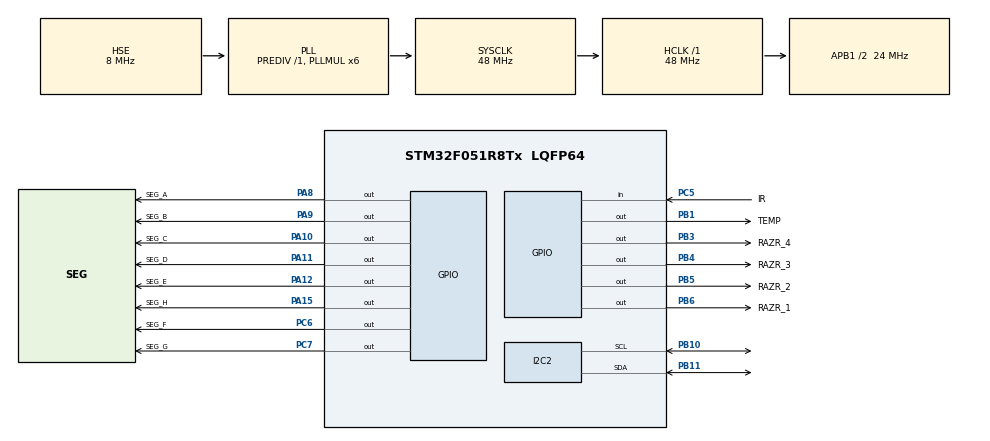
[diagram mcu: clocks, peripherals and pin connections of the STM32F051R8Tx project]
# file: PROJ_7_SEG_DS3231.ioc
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Mcu.Family=STM32F0
RCC.PLLSourceVirtual=RCC_PLLSOURCE_HSE
PB10.Mode=I2C
NVIC.TIM6_DAC_IRQn=true\:0\:0\:false\:false\:true\:true\:true
PA9.GPIO_Label=SEG_B
I2C2.Timing=0x00506682
TIM6.Prescaler=11999
PC6.Signal=GPIO_Output
VP_TIM6_VS_ClockSourceINT.Mode=Enable_Timer
PC6.GPIO_Label=SEG_F
PA11.GPIO_Label=SEG_D
PB6.GPIO_Label=RAZR_1
RCC.APB1CLKDivider=RCC_HCLK_DIV2
PB11.Signal=I2C2_SDA
PA12.GPIO_Label=SEG_E
RCC.SYSCLKSource=RCC_SYSCLKSOURCE_PLLCLK
ProjectManager.StackSize=0x400
PA13.Signal=SYS_SWDIO
PA15.GPIO_Label=SEG_H
PA12.Signal=GPIO_Output
PA8.GPIO_Label=SEG_A
PB11.Mode=I2C
ProjectManager.TargetToolchain=STM32CubeIDE
TIM15.Prescaler=47
RCC.HCLKFreq_Value=48000000
PA9.Signal=GPIO_Output
PB6.Signal=GPIO_Output
PC7.Signal=GPIO_Output
RCC.AHBFreq_Value=48000000
PF0-OSC_IN.Mode=HSE-External-Oscillator
PB10.Signal=I2C2_SCL
board=SEG7_DINAM
RCC.PLLMUL=RCC_PLL_MUL6
TIM15.Period=49
PB4.GPIO_Label=RAZR_3
VP_TIM2_VS_ClockSourceINT.Mode=Internal
PA14.Mode=Serial_Wire
PB1.GPIO_Label=TEMP
PA10.GPIO_Label=SEG_C
TIM6.TIM_MasterOutputTrigger=TIM_TRGO_RESET
PA8.Signal=GPIO_Output
TIM2.Period=0xffff-1
TIM6.Period=5
PA13.Mode=Serial_Wire
Mcu.Name=STM32F051R8Tx
PC7.GPIO_Label=SEG_G
PB3.Signal=GPIO_Output
RCC.SYSCLKFreq_VALUE=48000000
Mcu.Package=LQFP64
PB5.Signal=GPIO_Output
TIM2.Prescaler=24-1
PB1.Signal=GPIO_Output
PC5.GPIO_Label=IR
PA11.Signal=GPIO_Output
VP_TIM15_VS_ClockSourceINT.Mode=Internal
PA10.Signal=GPIO_Output
PA14.Signal=SYS_SWCLK
PA15.Signal=GPIO_Output
ProjectManager.HeapSize=0x200
PB5.GPIO_Label=RAZR_2
RCC.APB1TimFreq_Value=48000000
PC5.Signal=GPIO_Input
PF0-OSC_IN.Signal=RCC_OSC_IN
PF1-OSC_OUT.Mode=HSE-External-Oscillator
RCC.APB1Freq_Value=24000000
NVIC.TIM15_IRQn=true\:0\:0\:false\:false\:true\:true\:true
PF1-OSC_OUT.Signal=RCC_OSC_OUT
PB4.Signal=GPIO_Output
PB3.GPIO_Label=RAZR_4

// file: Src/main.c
/* USER CODE BEGIN Header */
/**
  ******************************************************************************
  * @file           : main.c
  * @brief          : Main program body
  ******************************************************************************
  * @attention
  *
  * <h2><center>&copy; Copyright (c) 2021 STMicroelectronics.
  * All rights reserved.</center></h2>
  *
  * This software component is licensed by ST under Ultimate Liberty license
  * SLA0044, the "License"; You may not use this file except in compliance with
  * the License. You may obtain a copy of the License at:
  *                             www.st.com/SLA0044
  *
  ******************************************************************************
  */
/* USER CODE END Header */
#include "main.h"

/* USER CODE BEGIN Includes */
#include "RTC.h"
#include "stdio.h"
#include "IRremote.h"
#include "DS18B20.h"
#include "Buttons.h"
/* USER CODE END Includes */

/* USER CODE BEGIN PTD */

unsigned int btn = 0xF; // Значение для перехода в режим текущее время (значение btn любое)
uint8_t ind = 0; // Переменная, сохраняющая значение номера индикатора (для времени)

/* USER CODE END PTD */

I2C_HandleTypeDef hi2c2;

TIM_HandleTypeDef htim2;
TIM_HandleTypeDef htim6;
TIM_HandleTypeDef htim15;

/* USER CODE BEGIN PV */
/* Private variables ---------------------------------------------------------*/

/* USER CODE END PV */

void SystemClock_Config(void);
static void MX_GPIO_Init(void);
static void MX_TIM6_Init(void);
static void MX_I2C2_Init(void);
static void MX_TIM2_Init(void);
static void MX_TIM15_Init(void);
/* USER CODE BEGIN PFP */
/* Private function prototypes -----------------------------------------------*/

/* USER CODE END PFP */

int main(void)
{

  /* MCU Configuration--------------------------------------------------------*/

  /* Reset of all peripherals, Initializes the Flash interface and the Systick. */
  HAL_Init();

  /* Configure the system clock */
  SystemClock_Config();

  /* Initialize all configured peripherals */
  MX_GPIO_Init();
  MX_TIM6_Init();
  MX_I2C2_Init();
  MX_TIM2_Init();
  MX_TIM15_Init();
  /* USER CODE BEGIN 2 */

  HAL_GPIO_WritePin(GPIOA, GPIO_PIN_8 | GPIO_PIN_9 | GPIO_PIN_10 | GPIO_PIN_11
  | GPIO_PIN_12 | GPIO_PIN_13 | GPIO_PIN_14 | GPIO_PIN_15, GPIO_PIN_RESET);
  HAL_GPIO_WritePin(GPIOB, GPIO_PIN_3 | GPIO_PIN_4 | GPIO_PIN_5 | GPIO_PIN_6, GPIO_PIN_RESET);

  HAL_TIM_Base_Start_IT(&htim6); // Старт таймера для динамической индикации по разрядам
  HAL_TIM_Base_Start(&htim2); // Старт таймера для работы с датчиком температуры

  my_enableIRIn();
  //SetTime(00,22,22,2,15,02,22);
  /* USER CODE END 2 */

  /* Infinite loop */
  /* USER CODE BEGIN WHILE */
  while (1)
  {
	  	  Buttons();

	  	  // Режимы отображения при нажатиях на различные кнопки
	  	  switch (btn)
	  	  {
	  	  	  case (CLK): // Если нажата кнопка, то переход в режим отображения времени
	  	  		  ind = 0; // Обнуление для повторной корректировки времени (когда нажата кнопка PWR_RC)
	  	  		  GetTime();
	  	  		  Indication_time();
	  	  		  break;
	  	  	  case (REPEAT_RC): // Если нажата кнопка, то переход в режим отображения даты
	  	  		  GetTime();
	  	  		  Indication_date();
	  	  		  break;
	  	  	  case (SLEEP): // Если нажата кнопка, то переход в режим отображения температуры
	  	  		  Indication_temp();
	  	  		  break;
	  	  	  case (RANDOM): // Если нажата кнопка, то отобразить 3 режима
	  	  		  GetTime();
	  	  		  Print_3_modes();
	  	  		  break;
	  	  	  case (0xF): // Если не нажата никакая кнопка на пульте
				  GetTime(); // Получает данные о текущем времени
			  	  Indication_time(); // Отображение времени
			  	  break;
	  	  	  default:
	  	  		  break;
	  	  }
  }
    /* USER CODE END WHILE */

}

void SystemClock_Config(void)
{
  RCC_OscInitTypeDef RCC_OscInitStruct = {0};
  RCC_ClkInitTypeDef RCC_ClkInitStruct = {0};

  /** Initializes the RCC Oscillators according to the specified parameters
  * in the RCC_OscInitTypeDef structure.
  */
  RCC_OscInitStruct.OscillatorType = RCC_OSCILLATORTYPE_HSE;
  RCC_OscInitStruct.HSEState = RCC_HSE_ON;
  RCC_OscInitStruct.PLL.PLLState = RCC_PLL_ON;
  RCC_OscInitStruct.PLL.PLLSource = RCC_PLLSOURCE_HSE;
  RCC_OscInitStruct.PLL.PLLMUL = RCC_PLL_MUL6;
  RCC_OscInitStruct.PLL.PREDIV = RCC_PREDIV_DIV1;
  if (HAL_RCC_OscConfig(&RCC_OscInitStruct) != HAL_OK)
  {
    Error_Handler();
  }
  /** Initializes the CPU, AHB and APB buses clocks
  */
  RCC_ClkInitStruct.ClockType = RCC_CLOCKTYPE_HCLK|RCC_CLOCKTYPE_SYSCLK
                              |RCC_CLOCKTYPE_PCLK1;
  RCC_ClkInitStruct.SYSCLKSource = RCC_SYSCLKSOURCE_PLLCLK;
  RCC_ClkInitStruct.AHBCLKDivider = RCC_SYSCLK_DIV1;
  RCC_ClkInitStruct.APB1CLKDivider = RCC_HCLK_DIV2;

  if (HAL_RCC_ClockConfig(&RCC_ClkInitStruct, FLASH_LATENCY_1) != HAL_OK)
  {
    Error_Handler();
  }
}

static void MX_I2C2_Init(void)
{

  hi2c2.Instance = I2C2;
  hi2c2.Init.Timing = 0x00506682;
  hi2c2.Init.OwnAddress1 = 0;
  hi2c2.Init.AddressingMode = I2C_ADDRESSINGMODE_7BIT;
  hi2c2.Init.DualAddressMode = I2C_DUALADDRESS_DISABLE;
  hi2c2.Init.OwnAddress2 = 0;
  hi2c2.Init.OwnAddress2Masks = I2C_OA2_NOMASK;
  hi2c2.Init.GeneralCallMode = I2C_GENERALCALL_DISABLE;
  hi2c2.Init.NoStretchMode = I2C_NOSTRETCH_DISABLE;
  if (HAL_I2C_Init(&hi2c2) != HAL_OK)
  {
    Error_Handler();
  }
  /** Configure Analogue filter
  */
  if (HAL_I2CEx_ConfigAnalogFilter(&hi2c2, I2C_ANALOGFILTER_ENABLE) != HAL_OK)
  {
    Error_Handler();
  }
  /** Configure Digital filter
  */
  if (HAL_I2CEx_ConfigDigitalFilter(&hi2c2, 0) != HAL_OK)
  {
    Error_Handler();
  }

}

static void MX_TIM2_Init(void)
{

  TIM_ClockConfigTypeDef sClockSourceConfig = {0};
  TIM_MasterConfigTypeDef sMasterConfig = {0};

  htim2.Instance = TIM2;
  htim2.Init.Prescaler = 24-1;
  htim2.Init.CounterMode = TIM_COUNTERMODE_UP;
  htim2.Init.Period = 0xffff-1;
  htim2.Init.ClockDivision = TIM_CLOCKDIVISION_DIV1;
  htim2.Init.AutoReloadPreload = TIM_AUTORELOAD_PRELOAD_DISABLE;
  if (HAL_TIM_Base_Init(&htim2) != HAL_OK)
  {
    Error_Handler();
  }
  sClockSourceConfig.ClockSource = TIM_CLOCKSOURCE_INTERNAL;
  if (HAL_TIM_ConfigClockSource(&htim2, &sClockSourceConfig) != HAL_OK)
  {
    Error_Handler();
  }
  sMasterConfig.MasterOutputTrigger = TIM_TRGO_RESET;
  sMasterConfig.MasterSlaveMode = TIM_MASTERSLAVEMODE_DISABLE;
  if (HAL_TIMEx_MasterConfigSynchronization(&htim2, &sMasterConfig) != HAL_OK)
  {
    Error_Handler();
  }

}

static void MX_TIM6_Init(void)
{

  TIM_MasterConfigTypeDef sMasterConfig = {0};

  htim6.Instance = TIM6;
  htim6.Init.Prescaler = 11999;
  htim6.Init.CounterMode = TIM_COUNTERMODE_UP;
  htim6.Init.Period = 5;
  htim6.Init.AutoReloadPreload = TIM_AUTORELOAD_PRELOAD_DISABLE;
  if (HAL_TIM_Base_Init(&htim6) != HAL_OK)
  {
    Error_Handler();
  }
  sMasterConfig.MasterOutputTrigger = TIM_TRGO_RESET;
  sMasterConfig.MasterSlaveMode = TIM_MASTERSLAVEMODE_DISABLE;
  if (HAL_TIMEx_MasterConfigSynchronization(&htim6, &sMasterConfig) != HAL_OK)
  {
    Error_Handler();
  }

}

static void MX_TIM15_Init(void)
{

  TIM_ClockConfigTypeDef sClockSourceConfig = {0};
  TIM_MasterConfigTypeDef sMasterConfig = {0};

  htim15.Instance = TIM15;
  htim15.Init.Prescaler = 47;
  htim15.Init.CounterMode = TIM_COUNTERMODE_UP;
  htim15.Init.Period = 49;
  htim15.Init.ClockDivision = TIM_CLOCKDIVISION_DIV1;
  htim15.Init.RepetitionCounter = 0;
  htim15.Init.AutoReloadPreload = TIM_AUTORELOAD_PRELOAD_DISABLE;
  if (HAL_TIM_Base_Init(&htim15) != HAL_OK)
  {
    Error_Handler();
  }
  sClockSourceConfig.ClockSource = TIM_CLOCKSOURCE_INTERNAL;
  if (HAL_TIM_ConfigClockSource(&htim15, &sClockSourceConfig) != HAL_OK)
  {
    Error_Handler();
  }
  sMasterConfig.MasterOutputTrigger = TIM_TRGO_RESET;
  sMasterConfig.MasterSlaveMode = TIM_MASTERSLAVEMODE_DISABLE;
  if (HAL_TIMEx_MasterConfigSynchronization(&htim15, &sMasterConfig) != HAL_OK)
  {
    Error_Handler();
  }

}

static void MX_GPIO_Init(void)
{
  GPIO_InitTypeDef GPIO_InitStruct = {0};

  /* GPIO Ports Clock Enable */
  __HAL_RCC_GPIOF_CLK_ENABLE();
  __HAL_RCC_GPIOC_CLK_ENABLE();
  __HAL_RCC_GPIOB_CLK_ENABLE();
  __HAL_RCC_GPIOA_CLK_ENABLE();

  /*Configure GPIO pin Output Level */
  HAL_GPIO_WritePin(GPIOB, TEMP_Pin|RAZR_4_Pin|RAZR_3_Pin|RAZR_2_Pin
                          |RAZR_1_Pin, GPIO_PIN_RESET);

  /*Configure GPIO pin Output Level */
  HAL_GPIO_WritePin(GPIOC, SEG_F_Pin|SEG_G_Pin, GPIO_PIN_RESET);

  /*Configure GPIO pin Output Level */
  HAL_GPIO_WritePin(GPIOA, SEG_A_Pin|SEG_B_Pin|SEG_C_Pin|SEG_D_Pin
                          |SEG_E_Pin|SEG_H_Pin, GPIO_PIN_RESET);

  /*Configure GPIO pin : IR_Pin */
  GPIO_InitStruct.Pin = IR_Pin;
  GPIO_InitStruct.Mode = GPIO_MODE_INPUT;
  GPIO_InitStruct.Pull = GPIO_NOPULL;
  HAL_GPIO_Init(IR_GPIO_Port, &GPIO_InitStruct);

  /*Configure GPIO pins : TEMP_Pin RAZR_4_Pin RAZR_3_Pin RAZR_2_Pin
                           RAZR_1_Pin */
  GPIO_InitStruct.Pin = TEMP_Pin|RAZR_4_Pin|RAZR_3_Pin|RAZR_2_Pin
                          |RAZR_1_Pin;
  GPIO_InitStruct.Mode = GPIO_MODE_OUTPUT_PP;
  GPIO_InitStruct.Pull = GPIO_NOPULL;
  GPIO_InitStruct.Speed = GPIO_SPEED_FREQ_LOW;
  HAL_GPIO_Init(GPIOB, &GPIO_InitStruct);

  /*Configure GPIO pins : SEG_F_Pin SEG_G_Pin */
  GPIO_InitStruct.Pin = SEG_F_Pin|SEG_G_Pin;
  GPIO_InitStruct.Mode = GPIO_MODE_OUTPUT_PP;
  GPIO_InitStruct.Pull = GPIO_NOPULL;
  GPIO_InitStruct.Speed = GPIO_SPEED_FREQ_LOW;
  HAL_GPIO_Init(GPIOC, &GPIO_InitStruct);

  /*Configure GPIO pins : SEG_A_Pin SEG_B_Pin SEG_C_Pin SEG_D_Pin
                           SEG_E_Pin SEG_H_Pin */
  GPIO_InitStruct.Pin = SEG_A_Pin|SEG_B_Pin|SEG_C_Pin|SEG_D_Pin
                          |SEG_E_Pin|SEG_H_Pin;
  GPIO_InitStruct.Mode = GPIO_MODE_OUTPUT_PP;
  GPIO_InitStruct.Pull = GPIO_NOPULL;
  GPIO_InitStruct.Speed = GPIO_SPEED_FREQ_LOW;
  HAL_GPIO_Init(GPIOA, &GPIO_InitStruct);

}

void Error_Handler(void)
{
  while(1)
  {
  }
}

/************************ (C) COPYRIGHT STMicroelectronics *****END OF FILE****/
